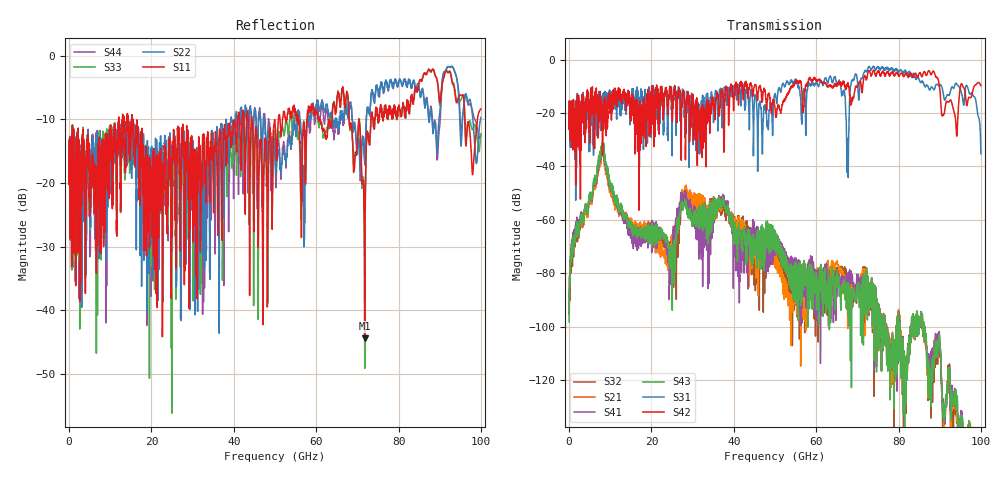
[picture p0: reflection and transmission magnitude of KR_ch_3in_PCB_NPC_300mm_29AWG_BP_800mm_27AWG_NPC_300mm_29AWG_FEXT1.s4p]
# GHz S RI R 45
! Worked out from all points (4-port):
!   4000 points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, 25 MHz to 100 GHz, reference 45 ohm
!   strongest paths, dB at 25 MHz, 25.02 GHz, 50.02 GHz, 75.03 GHz, 100 GHz:
!     S42: -20.6, -18.0, -18.0, -4.3, -9.8
!     S31: -20.6, -36.0, -12.7, -2.5, -35.2
!     S43: -98.2, -89.6, -66.0, -96.1, -142.5
!     S41: -95.2, -73.0, -67.7, -96.2, -143.8
!     S21: -88.9, -69.1, -77.1, -96.1, -148.9
!     S32: -94.9, -72.0, -74.9, -96.0, -147.8
!   lowest |S11| = -44.4 dB at 71.78 GHz (marker M1), VSWR 1.01, Z = 44.7 - j0.45 ohm
!   |S11| at or under -10 dB: start of sweep to 12.05 GHz; 15.53 GHz to 40.98 GHz (25.45 GHz wide, 90.1 % of centre); 44.43 GHz to 50.83 GHz (6.396 GHz wide, 13.4 % of centre) (the widest 3 of 36)
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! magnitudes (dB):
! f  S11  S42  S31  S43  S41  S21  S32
! 25 MHz  -16.1  -20.6  -20.6  -98.2  -95.2  -88.9  -94.9
! 8.1 GHz  -26.7  -24.1  -18.9  -31.6  -32.8  -34.1  -32.8
! 24.43 GHz  -12.9  -11.2  -10.2  -74.7  -83.1  -81.0  -73.3
! 27.95 GHz  -20.2  -13.4  -19.2  -54.0  -51.3  -51.0  -52.5
! 67.6 GHz  -6.0  -9.9  -32.2  -87.2  -85.2  -89.0  -81.5
! 71.78 GHz  -44.4  -6.1  -4.3  -91.8  -89.8  -86.3  -85.4
! 100 GHz  -8.4  -9.8  -35.2  -142.5  -143.8  -148.9  -147.8
